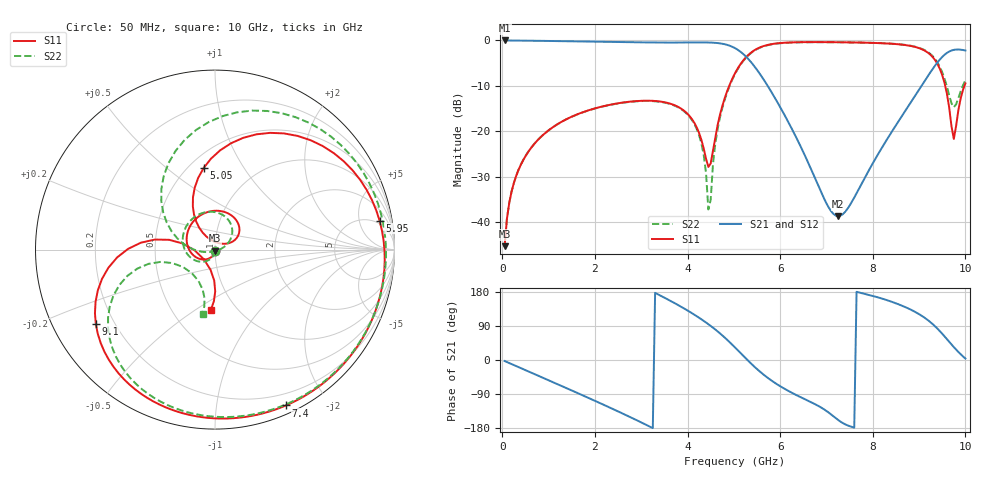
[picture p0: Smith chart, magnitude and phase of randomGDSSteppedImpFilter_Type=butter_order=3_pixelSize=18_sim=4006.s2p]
! freq	dB(S11)	phase(S11)	dB(S12)	phase(S12)
!  dB(S21)	phase(S21)	dB(S22)	phase(S22)
!S-par simulation data
#  GHz  S  DB  R 50
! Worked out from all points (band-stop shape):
!   200 points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, 50 MHz to 10 GHz, reference 50 ohm
!   highest |S21| = 0.00 dB at 50 MHz (marker M1); lowest = -38.7 dB at 7.25 GHz (marker M2)
!   |S21| within 3 dB of the highest: start of sweep to 5.204 GHz; 9.569 GHz to end of sweep
!   lowest |S11| = -45.3 dB at 50 MHz (marker M3), VSWR 1.01, Z = 50 - j0.541 ohm
!   |S11| at or under -10 dB: start of sweep to 4.9 GHz; 9.563 GHz to 9.981 GHz (417.2 MHz wide, 4.27 % of centre)
!   |S22| runs from -45.2 to -0.4 dB; largest |S21 - S12| = 0
!   S11 on the Smith chart (normalised r, x): 50 MHz: 1.00, -0.01; 5.05 GHz: 0.59, +0.68; 5.95 GHz: 4, +10; 7.4 GHz: 0.08, -1.55; 9.1 GHz: 0.13, -0.28; 10 GHz: 0.77, -0.58
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0.05  -45.33 -92.2  -0.00 -2.7  -0.00 -2.7  -45.20 -91.0
0.2  -33.32 -101.6  -0.02 -10.8  -0.02 -10.8  -33.31 -99.0
0.5  -25.52 -120.0  -0.05 -26.8  -0.05 -26.8  -25.48 -114.0
1.15  -18.72 -159.2  -0.13 -61.5  -0.13 -61.5  -18.72 -145.8
1.75  -15.78 164.9  -0.23 -94.0  -0.23 -94.0  -15.79 -175.1
2.7  -13.55 108.2  -0.38 -147.1  -0.38 -147.1  -13.60 135.4
3.4  -13.44 66.7  -0.46 170.9  -0.46 170.9  -13.51 93.9
4.2  -19.19 24.6  -0.43 115.5  -0.43 115.5  -19.54 34.4
4.35  -23.83 30.1  -0.43 103.2  -0.43 103.2  -25.26 17.0
4.45  -27.87 64.6  -0.45 94.5  -0.45 94.5  -37.25 -26.7
4.65  -18.62 126.0  -0.58 75.5  -0.58 75.5  -19.49 -177.7
5.05  -6.77 97.9  -1.84 30.1  -1.84 30.1  -6.92 131.5
5.5  -1.84 48.9  -6.47 -23.9  -6.47 -23.9  -1.91 74.9
5.95  -0.62 10.0  -13.78 -65.4  -13.78 -65.4  -0.67 31.3
6.7  -0.36 -34.2  -29.11 -113.3  -29.11 -113.3  -0.38 -18.3
7.25  -0.39 -59.2  -38.73 -158.0  -38.73 -158.0  -0.40 -46.1
7.4  -0.41 -65.5  -37.80 -169.5  -37.80 -169.5  -0.42 -53.0
8.35  -0.69 -105.3  -21.10 156.2  -21.10 156.2  -0.67 -95.1
9.1  -2.13 -148.0  -9.24 113.2  -9.24 113.2  -2.03 -136.3
9.5  -7.64 174.7  -3.63 69.4  -3.63 69.4  -7.01 -166.2
9.75  -21.71 -138.4  -2.08 34.1  -2.08 34.1  -14.70 -134.3
10  -9.47 -93.9  -2.21 3.9  -2.21 3.9  -8.78 -101.0
